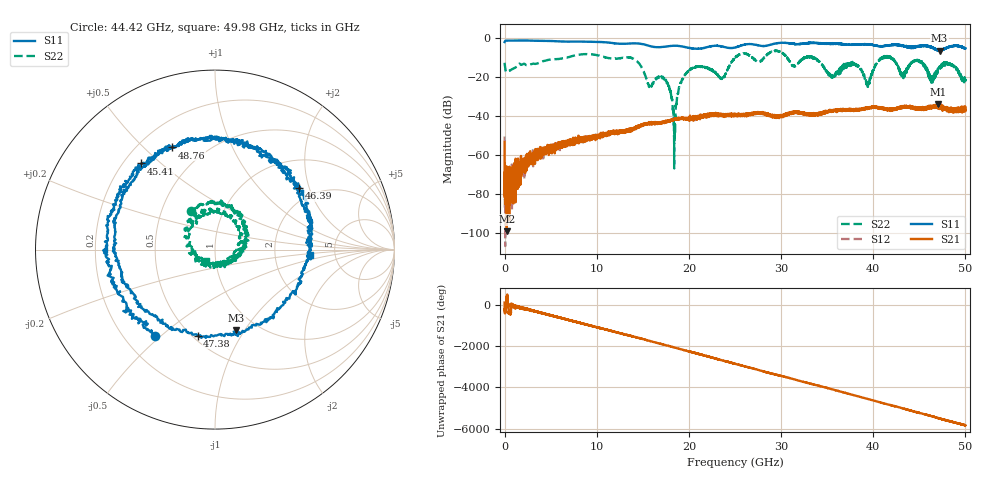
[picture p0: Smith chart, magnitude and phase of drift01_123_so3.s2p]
!Created with skrf (http://scikit-rf.org).
# Hz S RI R 50.0
!freq ReS11 ImS11 ReS21 ImS21 ReS12 ImS12 ReS22 ImS22
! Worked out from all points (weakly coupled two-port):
!   10001 points, 300 kHz to 50 GHz, reference 50 ohm
!   highest |S21| = -34.17 dB at 47.08 GHz (marker M1); lowest = -99.3 dB at 240.3 MHz (marker M2)
!   lowest |S11| = -6.6 dB at 47.2 GHz (marker M3), VSWR 2.75, Z = 40 - j46 ohm
!   |S11| at or under -10 dB: nowhere
!   |S22| runs from -67.0 to -6.6 dB; largest |S21 - S12| = 0.0037
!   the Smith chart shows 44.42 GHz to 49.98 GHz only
!   S11 on the Smith chart (normalised r, x): 44.42 GHz: 0.33, -0.48; 45.41 GHz: 0.27, +0.43; 46.39 GHz: 1.65, +1.71; 47.38 GHz: 0.53, -0.67; 48.76 GHz: 0.33, +0.61; 49.98 GHz: 3.23, -0.29
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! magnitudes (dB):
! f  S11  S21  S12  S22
! 300 kHz  -2.1  -53.5  -50.6  -12.8
! 240.3 MHz  -1.4  -99.3  -92.5  -17.5
! 8.335 GHz  -1.9  -51.6  -52.0  -8.5
! 16.67 GHz  -4.8  -43.5  -43.5  -20.0
! 17.74 GHz  -4.3  -42.9  -43.0  -24.2
! 18.44 GHz  -4.1  -41.7  -41.5  -45.6
! 19.95 GHz  -5.1  -41.5  -41.7  -17.1
! 23.61 GHz  -4.5  -39.9  -39.4  -20.6
! 25 GHz  -5.0  -40.1  -39.7  -10.3
! 33.34 GHz  -2.6  -39.6  -39.4  -9.9
! 39.45 GHz  -3.3  -36.1  -35.9  -24.0
! 41.67 GHz  -3.9  -36.7  -36.7  -9.7
! 43.19 GHz  -4.1  -35.9  -35.7  -19.5
! 44.42 GHz  -4.6  -35.9  -35.9  -11.9
! 45.41 GHz  -4.0  -36.4  -36.1  -13.5
! 46.39 GHz  -4.7  -35.6  -35.7  -21.9
! 47.08 GHz  -6.4  -34.2  -34.4  -16.5
! 47.2 GHz  -6.6  -35.8  -34.9  -14.7
! 47.38 GHz  -6.2  -34.3  -35.7  -13.7
! 48.76 GHz  -4.2  -36.8  -36.9  -15.0
! 49.98 GHz  -5.5  -36.1  -36.7  -21.7
! 50 GHz  -5.4  -37.3  -36.4  -21.9
